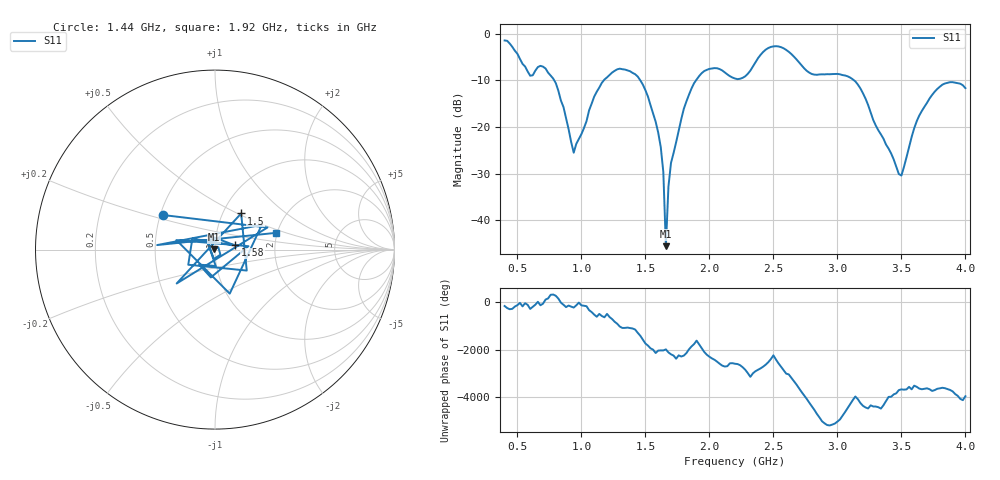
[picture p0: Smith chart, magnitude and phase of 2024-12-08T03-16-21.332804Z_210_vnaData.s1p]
!Created with skrf (http://scikit-rf.org).
# Hz S RI R 50.0
!freq ReS11 ImS11
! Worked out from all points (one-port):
!   181 points, 400 MHz to 4 GHz, reference 50 ohm
!   lowest |S11| = -45.6 dB at 1.66 GHz (marker M1), VSWR 1.01, Z = 49.5 + j0.128 ohm
!   |S11| at or under -10 dB: 788 MHz to 1.175 GHz (386.6 MHz wide, 39.4 % of centre); 1.461 GHz to 1.895 GHz (434.7 MHz wide, 25.9 % of centre); 3.131 GHz to end of sweep
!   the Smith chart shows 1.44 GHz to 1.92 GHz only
!   S11 on the Smith chart (normalised r, x): 1.44 GHz: 0.52, +0.23; 1.5 GHz: 1.22, +0.52; 1.58 GHz: 1.25, +0.06; 1.92 GHz: 1.97, +0.42
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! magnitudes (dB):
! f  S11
! 400 MHz  -1.4
! 600 MHz  -9.0
! 720 MHz  -7.4
! 860 MHz  -15.7
! 940 MHz  -25.5
! 1.12 GHz  -12.4
! 1.3 GHz  -7.5
! 1.44 GHz  -9.2
! 1.5 GHz  -12.1
! 1.58 GHz  -18.9
! 1.64 GHz  -29.7
! 1.66 GHz  -45.6
! 1.68 GHz  -32.8
! 1.7 GHz  -27.7
! 1.76 GHz  -20.8
! 1.92 GHz  -9.1
! 2.06 GHz  -7.4
! 2.2 GHz  -9.6
! 2.48 GHz  -2.8
! 2.66 GHz  -4.9
! 2.8 GHz  -8.6
! 3.1 GHz  -9.4
! 3.2 GHz  -12.8
! 3.48 GHz  -30.1
! 3.56 GHz  -24.3
! 3.64 GHz  -17.5
! 3.78 GHz  -11.8
! 4 GHz  -11.7
